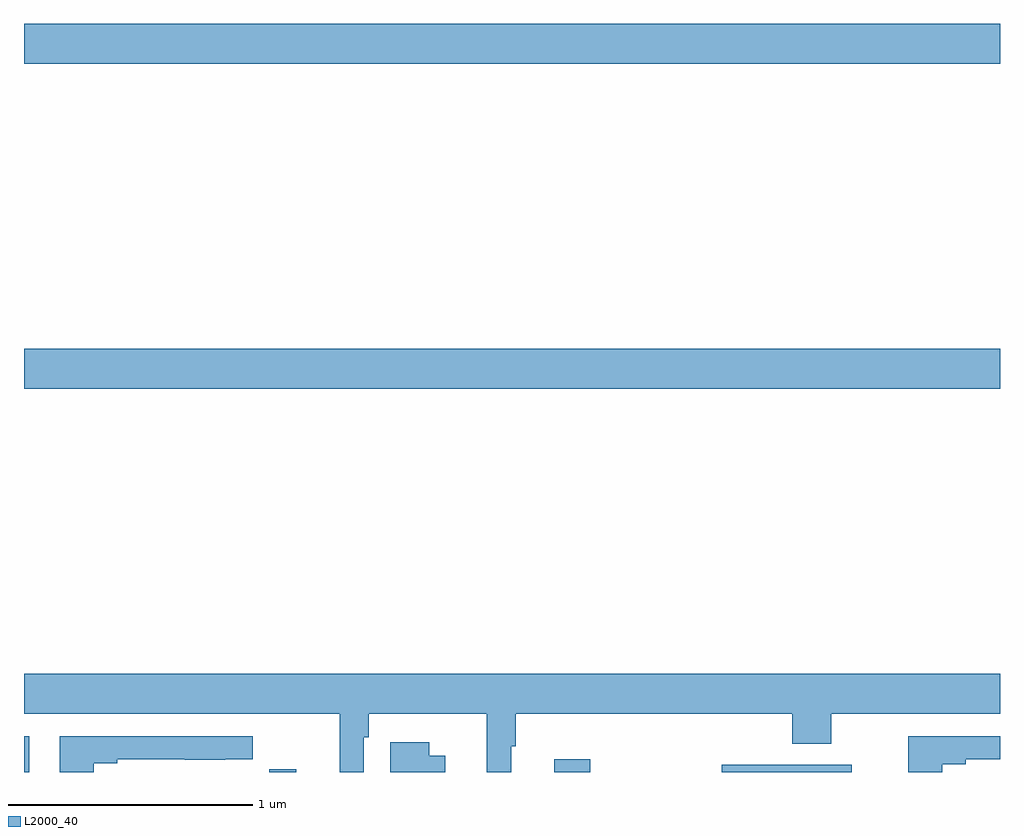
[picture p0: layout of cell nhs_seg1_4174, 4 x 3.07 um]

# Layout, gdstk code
import gdstk
lib = gdstk.Library(unit=1e-6, precision=1e-09)
def R(c, l, rs):  # rectangles x0, y0, x1, y1
    for r in rs: c.add(gdstk.rectangle(r[:2], r[2:], *l))
def P(c, l, *ps):  # polygons
    for p in ps: c.add(gdstk.Polygon(p, *l))
L2000_40 = (2000, 40)

nhs_seg1_4174 = lib.new_cell('nhs_seg1_4174')
R(nhs_seg1_4174, L2000_40, [(339,510.199,339.022,510.348), (340.006,510.199,340.115,510.211), (341.174,510.199,341.321,510.253), (341.859,510.199,342.393,510.231), (339,511.772,343,511.936), (339,513.104,343,513.268)])
P(nhs_seg1_4174, L2000_40, [(340.392,510.344),(340.412,510.344),(340.412,510.44),(340.897,510.44),(340.897,510.199),(340.996,510.199),(340.996,510.306),(341.015,510.306),(341.015,510.44),(342.149,510.44),(342.149,510.316),(342.309,510.316),(342.309,510.44),(343,510.44),(343,510.604),(339,510.604),(339,510.44),(340.295,510.44),(340.295,510.199),(340.392,510.199)],
  [(342.763,510.232),(342.859,510.232),(342.859,510.252),(343,510.252),(343,510.348),(342.623,510.348),(342.623,510.199),(342.763,510.199)],
  [(339.286,510.237),(339.382,510.237),(339.382,510.252),(339.658,510.252),(339.658,510.251),(339.824,510.251),(339.824,510.252),(339.937,510.252),(339.937,510.348),(339.146,510.348),(339.146,510.199),(339.286,510.199)],
  [(340.726,510.268),(340.66,510.268),(340.66,510.322),(340.502,510.322),(340.502,510.199),(340.726,510.199)])

lib.write_gds('nhs_seg1_4174.gds')
